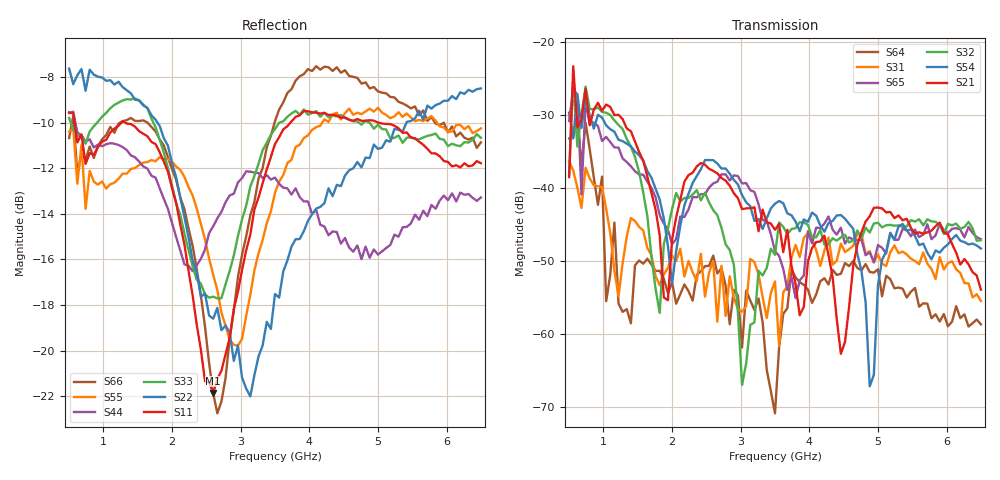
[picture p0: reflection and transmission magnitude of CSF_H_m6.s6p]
!Keysight Technologies,M9804A,MY58100912,A.14.10.03
!Date: Thursday, April 27, 2023 10:28:33
!Correction: S11(C  6-Port  )
!S12(C  6-Port  )
!S13(C  6-Port  )
!S14(C  6-Port  )
!S15(C  6-Port  )
!S16(C  6-Port  )
!S21(C  6-Port  )
!S22(C  6-Port  )
!S23(C  6-Port  )
!S24(C  6-Port  )
!S25(C  6-Port  )
!S26(C  6-Port  )
!S31(C  6-Port  )
!S32(C  6-Port  )
!S33(C  6-Port  )
!S34(C  6-Port  )
!S35(C  6-Port  )
!S36(C  6-Port  )
!S41(C  6-Port  )
!S42(C  6-Port  )
!S43(C  6-Port  )
!S44(C  6-Port  )
!S45(C  6-Port  )
!S46(C  6-Port  )
!S51(C  6-Port  )
!S52(C  6-Port  )
!S53(C  6-Port  )
!S54(C  6-Port  )
!S55(C  6-Port  )
!S56(C  6-Port  )
!S61(C  6-Port  )
!S62(C  6-Port  )
!S63(C  6-Port  )
!S64(C  6-Port  )
!S65(C  6-Port  )
!S66(C  6-Port  )
!S6P File: Measurement: :
# Hz S  RI  R 50
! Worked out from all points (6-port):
!   101 points, 500 MHz to 6.5 GHz, reference 50 ohm
!   strongest paths, dB at 500 MHz, 2 GHz, 3.5 GHz, 5 GHz, 6.5 GHz:
!     S21: -38.5, -47.1, -45.7, -42.6, -53.9
!     S54: -33.2, -53.1, -42.1, -53.3, -48.3
!     S32: -38.1, -42.9, -49.1, -44.7, -47.1
!     S65: -30.8, -47.7, -48.6, -47.8, -47.0
!     S31: -36.3, -49.2, -52.8, -49.1, -55.5
!     S64: -29.6, -52.9, -70.9, -51.1, -58.7
!   lowest |S11| = -21.9 dB at 2.6 GHz (marker M1), VSWR 1.18, Z = 42.8 + j1.97 ohm
!   |S11| at or under -10 dB: 579.5 MHz to 1.26 GHz (680.5 MHz wide, 74 % of centre); 1.321 GHz to 3.723 GHz (2.403 GHz wide, 95.3 % of centre); 5.016 GHz to end of sweep
